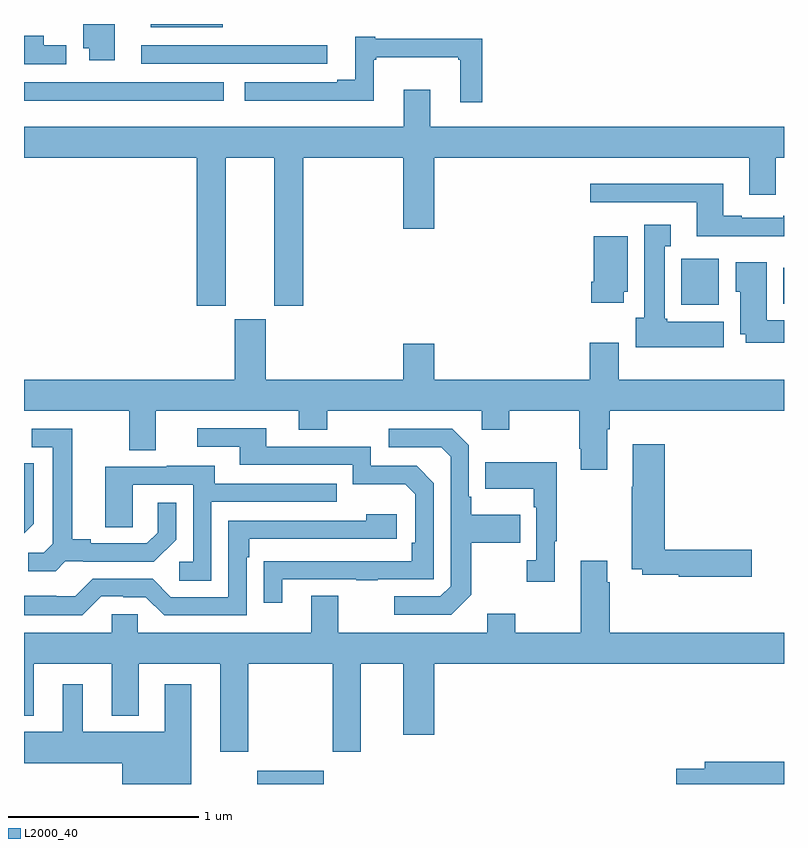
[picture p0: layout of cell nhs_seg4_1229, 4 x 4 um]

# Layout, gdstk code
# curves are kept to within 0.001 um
import gdstk
lib = gdstk.Library(unit=1e-6, precision=1e-09)
def R(c, l, rs):  # rectangles x0, y0, x1, y1
    for r in rs: c.add(gdstk.rectangle(r[:2], r[2:], *l))
def P(c, l, *ps):  # polygons
    for p in ps: c.add(gdstk.Polygon(p, *l))
L2000_40 = (2000, 40)

nhs_seg4_1229 = lib.new_cell('nhs_seg4_1229')
R(nhs_seg4_1229, L2000_40, [(176.228,750.9,176.578,750.97), (178.46,753.422,178.657,753.664), (178.997,753.428,179,753.616), (175,754.496,176.05,754.593), (175.667,754.883,176.047,754.9)])
P(nhs_seg4_1229, L2000_40, [(175.477,754.9),(175.313,754.9),(175.313,754.772),(175.343,754.772),(175.343,754.71),(175.477,754.71)],
  [(175.222,754.787),(175.105,754.787),(175.105,754.837),(175,754.837),(175,754.688),(175.222,754.688)],
  [(177.413,754.822),(176.848,754.822),(176.848,754.834),(176.744,754.834),(176.744,754.606),(176.648,754.606),(176.648,754.593),(176.163,754.593),(176.163,754.496),(176.842,754.496),(176.842,754.713),(176.854,754.713),(176.854,754.724),(177.285,754.724),(177.285,754.713),(177.296,754.713),(177.296,754.488),(177.413,754.488)],
  [(176.596,754.789),(176.143,754.789),(176.143,754.788),(175.617,754.788),(175.617,754.692),(176.596,754.692)],
  [(176.062,754.196),(176.318,754.196),(176.318,753.417),(176.471,753.417),(176.471,754.196),(176.996,754.196),(176.996,753.822),(177.16,753.822),(177.16,754.196),(178.817,754.196),(178.817,754.002),(178.957,754.002),(178.957,754.196),(179,754.196),(179,754.36),(177.139,754.36),(177.139,754.555),(176.999,754.555),(176.999,754.36),(175,754.36),(175,754.196),(175.91,754.196),(175.91,753.417),(176.062,753.417)],
  [(179,753.892),(178.997,753.892),(178.997,753.879),(178.777,753.879),(178.777,753.892),(178.681,753.892),(178.681,754.06),(177.981,754.06),(177.981,753.963),(178.541,753.963),(178.541,753.782),(179,753.782)],
  [(178.684,753.334),(178.386,753.334),(178.386,753.348),(178.372,753.348),(178.372,753.731),(178.405,753.731),(178.405,753.844),(178.265,753.844),(178.265,753.354),(178.22,753.354),(178.22,753.2),(178.684,753.2)],
  [(178.156,753.492),(178.177,753.492),(178.177,753.784),(177.998,753.784),(177.998,753.544),(177.986,753.544),(177.986,753.432),(178.156,753.432)],
  [(179,753.34),(178.909,753.34),(178.909,753.646),(178.745,753.646),(178.745,753.492),(178.769,753.492),(178.769,753.266),(178.799,753.266),(178.799,753.222),(179,753.222)],
  [(177.977,753.028),(177.16,753.028),(177.16,753.217),(176.996,753.217),(176.996,753.028),(176.272,753.028),(176.272,753.345),(176.108,753.345),(176.108,753.028),(175,753.028),(175,752.864),(175.553,752.864),(175.553,752.656),(175.693,752.656),(175.693,752.864),(176.447,752.864),(176.447,752.765),(176.595,752.765),(176.595,752.864),(177.408,752.864),(177.408,752.765),(177.555,752.765),(177.555,752.864),(177.922,752.864),(177.922,752.665),(177.929,752.665),(177.929,752.553),(178.069,752.553),(178.069,752.768),(178.082,752.768),(178.082,752.864),(179,752.864),(179,753.028),(178.129,753.028),(178.129,753.223),(177.977,753.223)],
  [(176.359,751.977),(176.749,751.977),(176.749,751.972),(176.861,751.972),(176.861,751.977),(177.156,751.977),(177.156,752.484),(177.066,752.574),(176.826,752.574),(176.826,752.676),(176.275,752.676),(176.275,752.772),(175.911,752.772),(175.911,752.676),(176.135,752.676),(176.135,752.58),(176.73,752.58),(176.73,752.477),(177.007,752.477),(177.06,752.424),(177.06,752.17),(177.04,752.17),(177.04,752.073),(176.263,752.072),(176.263,751.854),(176.359,751.854)],
  [(175.218,752.073),(175.312,752.073),(175.312,752.07),(175.684,752.07),(175.8,752.186),(175.8,752.38),(175.703,752.38),(175.703,752.223),(175.646,752.166),(175.351,752.166),(175.351,752.189),(175.255,752.189),(175.255,752.769),(175.041,752.769),(175.041,752.673),(175.151,752.673),(175.151,752.165),(175.104,752.118),(175.023,752.118),(175.023,752.021),(175.166,752.021)],
  [(177.355,751.897),(177.355,752.17),(177.611,752.17),(177.611,752.317),(177.355,752.317),(177.355,752.413),(177.342,752.413),(177.342,752.682),(177.255,752.769),(176.919,752.769),(176.919,752.673),(177.195,752.673),(177.246,752.622),(177.246,751.941),(177.192,751.887),(176.949,751.887),(176.949,751.791),(177.249,751.791)],
  [(178.831,752.132),(178.373,752.132),(178.373,752.689),(178.205,752.689),(178.205,752.465),(178.198,752.465),(178.198,752.03),(178.254,752.03),(178.254,752.002),(178.446,752.002),(178.446,751.99),(178.831,751.99)],
  [(177.793,752.177),(177.805,752.177),(177.805,752.593),(177.427,752.593),(177.427,752.453),(177.684,752.453),(177.684,752.357),(177.696,752.357),(177.696,752.078),(177.645,752.078),(177.645,751.965),(177.793,751.965)],
  [(175.05,752.27),(175.05,752.588),(175,752.588),(175,752.22)],
  [(175.986,752.385),(176.645,752.385),(176.645,752.481),(176.005,752.481),(176.005,752.575),(175.751,752.575),(175.751,752.571),(175.427,752.571),(175.427,752.251),(175.572,752.251),(175.572,752.475),(175.89,752.475),(175.89,752.07),(175.818,752.07),(175.818,751.969),(175.986,751.969)],
  [(175.407,751.887),(175.523,751.887),(175.523,751.884),(175.641,751.884),(175.737,751.788),(176.172,751.788),(176.172,752.093),(176.185,752.093),(176.185,752.19),(176.962,752.19),(176.962,752.32),(176.801,752.32),(176.801,752.286),(176.076,752.286),(176.076,751.884),(175.773,751.884),(175.677,751.98),(175.362,751.98),(175.269,751.887),(175.169,751.887),(175.169,751.891),(175,751.891),(175,751.787),(175.307,751.787)],
  [(176.181,751.532),(176.626,751.532),(176.626,751.071),(176.773,751.071),(176.773,751.532),(176.996,751.532),(176.996,751.158),(177.16,751.158),(177.16,751.532),(179,751.532),(179,751.696),(178.082,751.696),(178.082,751.961),(178.069,751.961),(178.069,752.074),(177.929,752.074),(177.929,751.696),(177.585,751.696),(177.585,751.795),(177.437,751.795),(177.437,751.696),(176.653,751.696),(176.653,751.891),(176.513,751.891),(176.513,751.696),(175.599,751.696),(175.599,751.794),(175.461,751.794),(175.461,751.696),(175,751.696),(175,751.259),(175.051,751.259),(175.051,751.532),(175.463,751.532),(175.463,751.259),(175.603,751.259),(175.603,751.532),(176.033,751.532),(176.033,751.071),(176.181,751.071)],
  [(175.879,751.426),(175.742,751.426),(175.742,751.174),(175.309,751.174),(175.309,751.426),(175.205,751.426),(175.205,751.174),(175,751.174),(175,751.01),(175.517,751.01),(175.517,750.9),(175.879,750.9)],
  [(179,751.016),(178.583,751.016),(178.583,750.98),(178.434,750.98),(178.434,750.9),(179,750.9)])

lib.write_gds('nhs_seg4_1229.gds')
